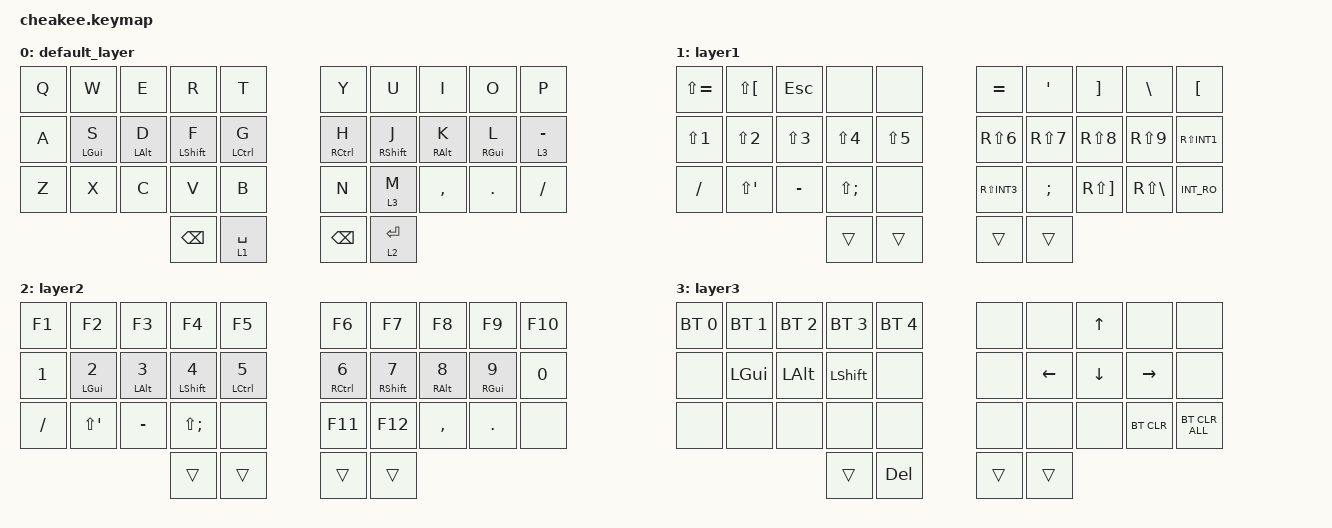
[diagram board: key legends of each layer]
#include <dt-bindings/zmk/pointing.h>
#include <behaviors.dtsi>
#include <dt-bindings/zmk/bt.h>
#include <dt-bindings/zmk/keys.h>

/ {
    combos {
        compatible = "zmk,combos";

        Eisu {
            bindings = <&kp LANGUAGE_2>;
            key-positions = <21 22>;
        };

        Kana {
            bindings = <&kp LANGUAGE_1>;
            key-positions = <27 28>;
        };

        LeftClick {
            bindings = <&mkp LCLK>;
            key-positions = <16 17>;
        };

        RightClick {
            bindings = <&mkp RCLK>;
            key-positions = <17 18>;
        };

        MiddleClick {
            bindings = <&mkp MCLK>;
            key-positions = <18 16>;
        };

        Tab {
            bindings = <&kp TAB>;
            key-positions = <11 12>;
        };
    };

    behaviors {
        home_row_shifts: home_row_shifts {
            compatible = "zmk,behavior-hold-tap";
            label = "HOME_ROW_SHIFTS";
            bindings = <&kp>, <&kp>;

            #binding-cells = <2>;
            tapping-term-ms = <180>;
            flavor = "balanced";
        };

        home_row_mods_left: home_row_mods_left {
            compatible = "zmk,behavior-hold-tap";
            label = "HOME_ROW_MODS_LEFT";
            bindings = <&kp>, <&kp>;

            #binding-cells = <2>;
            tapping-term-ms = <200>;
            flavor = "tap-preferred";
            hold-trigger-key-positions = <5 15 25 32 33 26 28 27 29 19 18 17 16 6 7 8 9>;
            hold-trigger-on-release;
        };

        home_row_mods_right: home_row_mods_right {
            compatible = "zmk,behavior-hold-tap";
            label = "HOME_ROW_MODS_RIGHT";
            bindings = <&kp>, <&kp>;

            #binding-cells = <2>;
            tapping-term-ms = <200>;
            flavor = "tap-preferred";
            hold-trigger-key-positions = <31 30 20 21 22 23 24 14 13 12 11 10 0 1 2 3 4>;
            hold-trigger-on-release;
        };

        home_row_mods_num: home_row_mods_num {
            compatible = "zmk,behavior-hold-tap";
            label = "HOME_ROW_MODS_NUM";
            bindings = <&kp>, <&kp>;

            #binding-cells = <2>;
            tapping-term-ms = <200>;
            flavor = "tap-preferred";
            retro-tap;
        };

        layer_tap_thumbs: layer_tap_thumbs {
            compatible = "zmk,behavior-hold-tap";
            label = "LAYER_TAP_THUMBS";
            bindings = <&mo>, <&kp>;

            #binding-cells = <2>;
            tapping-term-ms = <200>;
        };

        layer_tap_arrows: layer_tap_arrows {
            compatible = "zmk,behavior-hold-tap";
            label = "LAYER_TAP_ARROWS";
            bindings = <&mo>, <&kp>;

            #binding-cells = <2>;
            flavor = "balanced";
            tapping-term-ms = <200>;
        };

        layer_tap_scroll: layer_tap_scroll {
            compatible = "zmk,behavior-hold-tap";
            label = "LAYER_TAP_SCROLL";
            #binding-cells = <2>;
            tapping-term-ms = <200>;
            flavor = "tap-preferred";
            bindings = <&mo>, <&kp>;
        };
    };

    keymap {
        compatible = "zmk,keymap";

        default_layer {
            bindings = <
&kp Q  &kp W  &kp E  &kp R  &kp T  &kp Y  &kp U  &kp I  &kp O  &kp P  &kp A  &home_row_mods_left LEFT_GUI S  &home_row_mods_left LEFT_ALT D  &home_row_shifts LEFT_SHIFT F  &home_row_mods_left LCTRL G  &home_row_mods_right RCTRL H  &home_row_shifts RIGHT_SHIFT J  &home_row_mods_right RIGHT_ALT K  &home_row_mods_right RIGHT_GUI L  &layer_tap_arrows 3 MINUS  &kp Z  &kp X  &kp C  &kp V  &kp B  &kp N  &layer_tap_scroll 3 M  &kp COMMA  &kp DOT  &kp SLASH &kp BACKSPACE &layer_tap_thumbs 1 SPACE &kp BACKSPACE &layer_tap_thumbs 2 ENTER
            >;
        };

        layer1 {
            bindings = <
&kp LS(EQUAL)  &kp LS(LEFT_BRACKET)  &kp ESCAPE  &none  &none  &kp EQUAL  &kp SINGLE_QUOTE  &kp RIGHT_BRACKET  &kp BACKSLASH  &kp LEFT_BRACKET  &kp LS(NUMBER_1)  &kp LS(NUMBER_2)  &kp LS(NUMBER_3)  &kp LS(NUMBER_4)  &kp LS(NUMBER_5)  &kp RS(NUMBER_6)  &kp RS(NUMBER_7)  &kp RS(NUMBER_8)  &kp RS(NUMBER_9)  &kp RS(INT1)  &kp SLASH  &kp LS(SINGLE_QUOTE)  &kp MINUS  &kp LS(SEMICOLON)  &none  &kp RS(INT3)  &kp SEMICOLON  &kp RS(RIGHT_BRACKET)  &kp RS(BACKSLASH)  &kp INT_RO  &trans  &trans  &trans  &trans
            >;
        };

        layer2 {
            bindings = <
&kp F1  &kp F2  &kp F3  &kp F4  &kp F5  &kp F6  &kp F7  &kp F8  &kp F9  &kp F10  &kp NUMBER_1  &home_row_mods_num LEFT_GUI NUMBER_2  &home_row_mods_num LEFT_ALT NUMBER_3  &home_row_mods_num LEFT_SHIFT NUMBER_4  &home_row_mods_num LCTRL NUMBER_5  &home_row_mods_num RCTRL NUMBER_6  &home_row_mods_num RIGHT_SHIFT NUMBER_7  &home_row_mods_num RIGHT_ALT NUMBER_8  &home_row_mods_num RIGHT_GUI NUMBER_9  &kp NUMBER_0  &kp SLASH  &kp LS(SINGLE_QUOTE)  &kp MINUS  &kp LS(SEMICOLON)  &none  &kp F11  &kp F12  &kp COMMA  &kp DOT  &none  &trans  &trans  &trans  &trans
            >;
        };

        layer3 {
            bindings = <
&bt BT_SEL 0  &bt BT_SEL 1  &bt BT_SEL 2  &bt BT_SEL 3  &bt BT_SEL 4  &none  &none  &kp UP  &none  &none  &none  &kp LEFT_GUI  &kp LEFT_ALT  &kp LEFT_SHIFT  &none  &none  &kp LEFT  &kp DOWN  &kp RIGHT  &none  &none  &none  &none  &none  &none  &none  &none  &none  &bt BT_CLR  &bt BT_CLR_ALL  &trans  &kp DELETE  &trans  &trans
            >;
        };
    };
};
